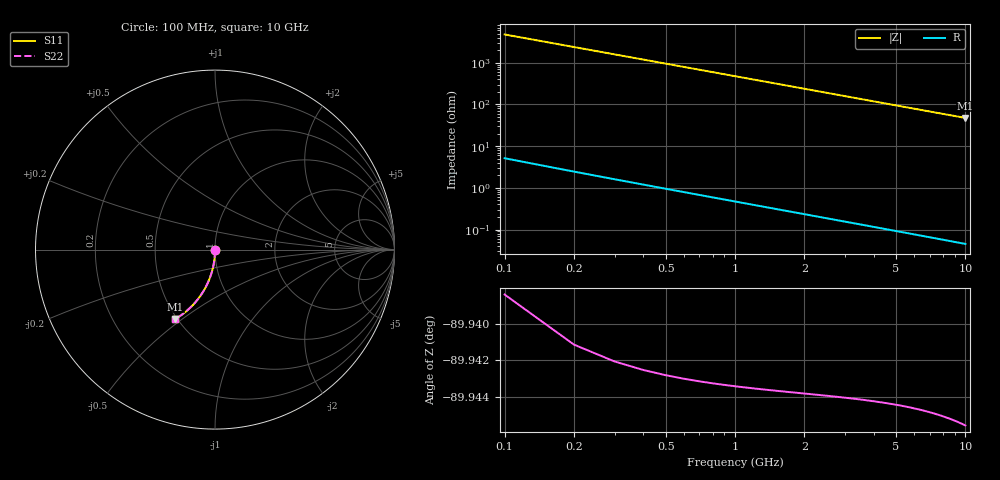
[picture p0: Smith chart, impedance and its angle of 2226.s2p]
# Hz S RI R 50.00
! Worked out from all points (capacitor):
!   100 points, 100 MHz to 10 GHz, reference 50 ohm
!   read as one part in shunt: C = 334 fF near 100 MHz
!   lowest |Z| = 47.4 ohm at 10 GHz (marker M1)
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1e8  2.7e-05 -0.00497  0.9999 -0.00553  0.9999 -0.00553  2.7e-05 -0.00497
2e8  -6.01e-05 -0.00994  0.9998 -0.0111  0.9998 -0.0111  -6.01e-05 -0.00994
3e8  -0.000202 -0.0149  0.9997 -0.0166  0.9997 -0.0166  -0.000202 -0.0149
4e8  -0.000399 -0.0199  0.9995 -0.0221  0.9995 -0.0221  -0.000399 -0.0199
5e8  -0.000651 -0.0248  0.9992 -0.0276  0.9992 -0.0276  -0.000651 -0.0248
6e8  -0.000958 -0.0298  0.9989 -0.0331  0.9989 -0.0331  -0.000958 -0.0298
7e8  -0.00132 -0.0348  0.9985 -0.0387  0.9985 -0.0387  -0.00132 -0.0348
8e8  -0.00174 -0.0397  0.9981 -0.0442  0.9981 -0.0442  -0.00174 -0.0397
9e8  -0.00221 -0.0446  0.9977 -0.0497  0.9977 -0.0497  -0.00221 -0.0446
1.1e9  -0.00331 -0.0545  0.9965 -0.0607  0.9965 -0.0607  -0.00331 -0.0545
1.4e9  -0.00538 -0.0693  0.9945 -0.0771  0.9945 -0.0771  -0.00538 -0.0693
1.8e9  -0.00888 -0.0888  0.9909 -0.0988  0.9909 -0.0988  -0.00888 -0.0888
2.1e9  -0.0121 -0.1033  0.9877 -0.115  0.9877 -0.115  -0.0121 -0.1033
2.5e9  -0.017 -0.1224  0.9827 -0.1364  0.9827 -0.1364  -0.017 -0.1224
2.9e9  -0.0228 -0.1412  0.9769 -0.1574  0.9769 -0.1574  -0.0228 -0.1412
3.4e9  -0.0312 -0.1642  0.9685 -0.1832  0.9685 -0.1832  -0.0312 -0.1642
4.2e9  -0.0469 -0.1996  0.9527 -0.2232  0.9527 -0.2232  -0.0469 -0.1996
5.1e9  -0.0679 -0.2372  0.9316 -0.2659  0.9316 -0.2659  -0.0679 -0.2372
5.9e9  -0.0891 -0.2682  0.9103 -0.3015  0.9103 -0.3015  -0.0891 -0.2682
6.7e9  -0.1123 -0.2967  0.8869 -0.3347  0.8869 -0.3347  -0.1123 -0.2967
8.4e9  -0.1667 -0.3488  0.832 -0.3967  0.832 -0.3967  -0.1667 -0.3488
1e10  -0.2219 -0.3869  0.7763 -0.4443  0.7763 -0.4443  -0.2219 -0.3869
